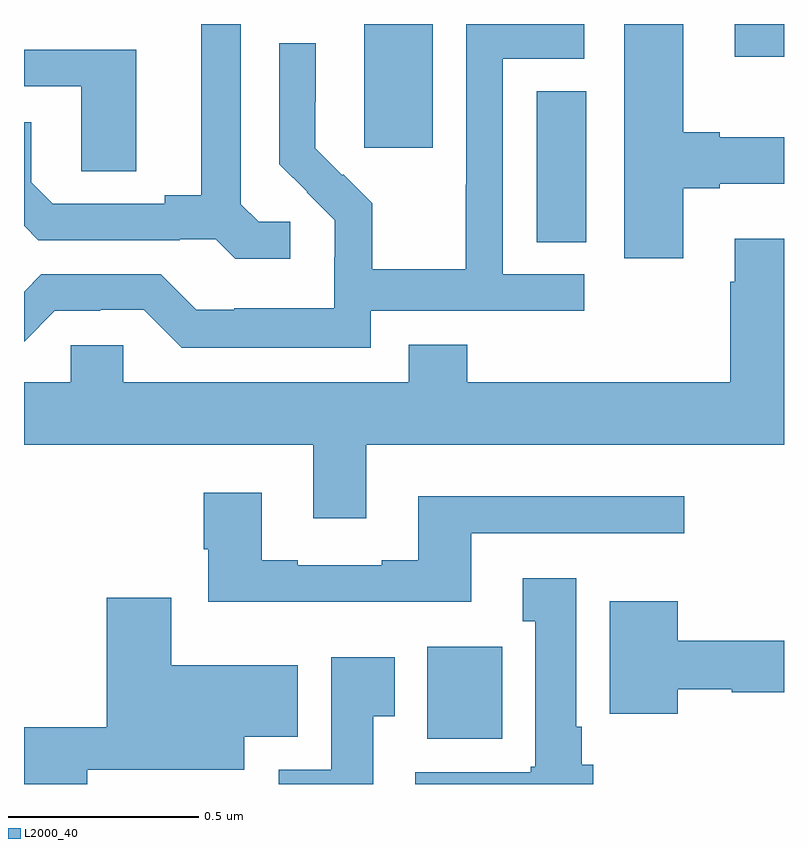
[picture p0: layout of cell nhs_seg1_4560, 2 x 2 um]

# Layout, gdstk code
import gdstk
lib = gdstk.Library(unit=1e-6, precision=1e-09)
def R(c, l, rs):  # rectangles x0, y0, x1, y1
    for r in rs: c.add(gdstk.rectangle(r[:2], r[2:], *l))
def P(c, l, *ps):  # polygons
    for p in ps: c.add(gdstk.Polygon(p, *l))
L2000_40 = (2000, 40)

nhs_seg1_4560 = lib.new_cell('nhs_seg1_4560')
R(nhs_seg1_4560, L2000_40, [(169.061,524.318,169.258,524.56), (169.349,525.625,169.48,526.022), (168.896,525.873,169.075,526.199), (169.871,526.113,170,526.199)])
P(nhs_seg1_4560, L2000_40, [(168.7,525.678),(168.618,525.678),(168.571,525.725),(168.571,526.199),(168.467,526.199),(168.467,525.749),(168.371,525.749),(168.371,525.726),(168.076,525.726),(168.019,525.783),(168.019,525.94),(168,525.94),(168,525.668),(168.038,525.63),(168.41,525.63),(168.41,525.633),(168.504,525.633),(168.556,525.581),(168.7,525.581)],
  [(169.735,525.767),(169.831,525.767),(169.831,525.779),(170,525.779),(170,525.901),(169.831,525.901),(169.831,525.914),(169.735,525.914),(169.735,526.199),(169.58,526.199),(169.58,525.582),(169.735,525.582)],
  [(168.912,525.444),(169.474,525.444),(169.474,525.54),(169.26,525.54),(169.26,526.107),(169.474,526.107),(169.474,526.199),(169.164,526.199),(169.164,525.776),(169.162,525.776),(169.162,525.553),(168.917,525.553),(168.917,525.727),(168.84,525.804),(168.837,525.801),(168.767,525.872),(168.767,525.994),(168.768,525.994),(168.768,526.148),(168.672,526.148),(168.672,525.83),(168.745,525.757),(168.744,525.756),(168.818,525.682),(168.818,525.585),(168.816,525.585),(168.816,525.451),(168.553,525.451),(168.553,525.447),(168.453,525.447),(168.36,525.54),(168.045,525.54),(168,525.495),(168,525.363),(168.081,525.444),(168.2,525.444),(168.2,525.447),(168.315,525.447),(168.415,525.347),(168.912,525.347)],
  [(168.295,526.131),(168,526.131),(168,526.035),(168.15,526.035),(168.15,525.811),(168.295,525.811)],
  [(168.901,525.092),(170,525.092),(170,525.634),(169.871,525.634),(169.871,525.521),(169.859,525.521),(169.859,525.256),(169.166,525.256),(169.166,525.355),(169.013,525.355),(169.013,525.256),(168.261,525.256),(168.261,525.354),(168.123,525.354),(168.123,525.256),(168,525.256),(168,525.092),(168.761,525.092),(168.761,524.898),(168.901,524.898)],
  [(169.177,524.859),(169.738,524.859),(169.738,524.956),(169.037,524.956),(169.037,524.788),(168.941,524.788),(168.941,524.775),(168.721,524.775),(168.721,524.788),(168.625,524.788),(168.625,524.965),(168.473,524.965),(168.473,524.817),(168.485,524.817),(168.485,524.678),(169.177,524.678)],
  [(169.498,524.25),(169.468,524.25),(169.468,524.35),(169.453,524.35),(169.453,524.74),(169.313,524.74),(169.313,524.627),(169.346,524.627),(169.346,524.244),(169.333,524.244),(169.333,524.23),(169.029,524.23),(169.029,524.199),(169.498,524.199)],
  [(168.166,524.237),(168.58,524.237),(168.58,524.324),(168.721,524.324),(168.721,524.512),(168.388,524.512),(168.388,524.689),(168.218,524.689),(168.218,524.348),(168,524.348),(168,524.199),(168.166,524.199)],
  [(169.72,524.448),(169.863,524.448),(169.863,524.44),(170,524.44),(170,524.576),(169.72,524.576),(169.72,524.68),(169.541,524.68),(169.541,524.384),(169.72,524.384)],
  [(168.919,524.377),(168.976,524.377),(168.976,524.533),(168.809,524.533),(168.809,524.236),(168.67,524.236),(168.67,524.199),(168.919,524.199)])

lib.write_gds('nhs_seg1_4560.gds')
